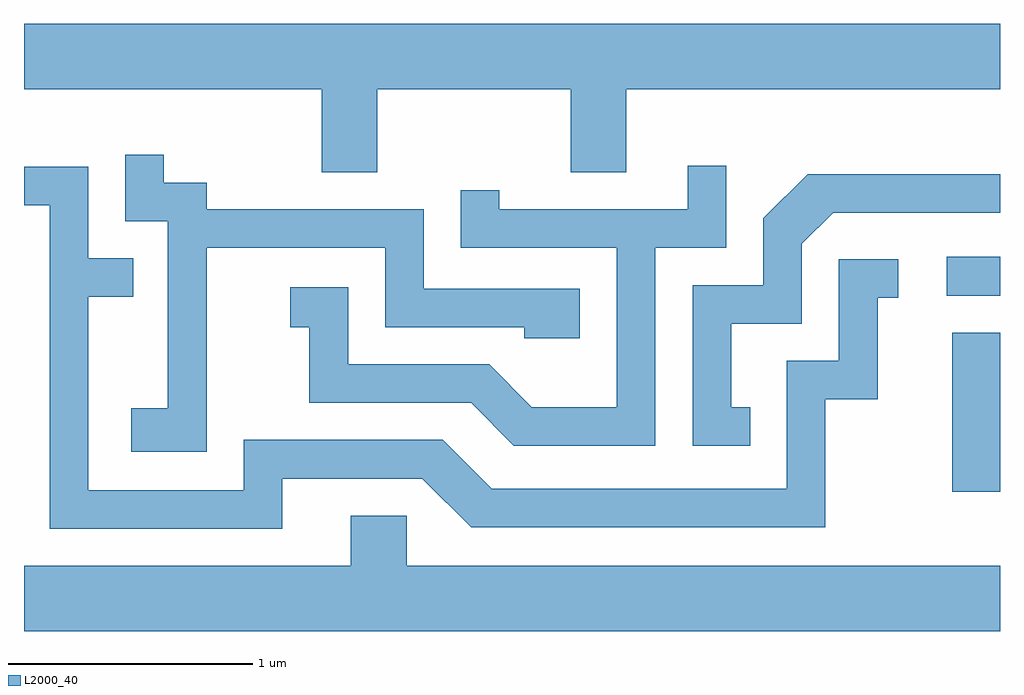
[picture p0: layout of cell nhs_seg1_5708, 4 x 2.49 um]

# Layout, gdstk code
import gdstk
lib = gdstk.Library(unit=1e-6, precision=1e-09)
def R(c, l, rs):  # rectangles x0, y0, x1, y1
    for r in rs: c.add(gdstk.rectangle(r[:2], r[2:], *l))
def P(c, l, *ps):  # polygons
    for p in ps: c.add(gdstk.Polygon(p, *l))
L2000_40 = (2000, 40)

nhs_seg1_5708 = lib.new_cell('nhs_seg1_5708')
R(nhs_seg1_5708, L2000_40, [(361.416,869.066,361.611,869.719), (361.393,869.871,361.611,870.029)])
P(nhs_seg1_5708, L2000_40, [(359.059,870.716),(359.851,870.716),(359.851,870.376),(360.079,870.376),(360.079,870.716),(361.611,870.716),(361.611,870.984),(357.611,870.984),(357.611,870.716),(358.831,870.716),(358.831,870.376),(359.059,870.376)],
  [(358.359,870.066),(359.091,870.066),(359.091,869.741),(359.661,869.741),(359.661,869.696),(359.889,869.696),(359.889,869.899),(359.249,869.899),(359.249,870.224),(358.359,870.224),(358.359,870.334),(358.184,870.334),(358.184,870.448),(358.026,870.448),(358.026,870.176),(358.201,870.176),(358.201,869.409),(358.051,869.409),(358.051,869.231),(358.359,869.231)],
  [(360.199,870.066),(360.489,870.066),(360.489,870.403),(360.331,870.403),(360.331,870.224),(359.559,870.224),(359.559,870.303),(359.401,870.303),(359.401,870.066),(360.041,870.066),(360.041,869.414),(359.692,869.414),(359.517,869.589),(358.939,869.589),(358.939,869.904),(358.703,869.904),(358.703,869.741),(358.781,869.741),(358.781,869.431),(359.444,869.431),(359.619,869.256),(360.199,869.256)],
  [(358.669,869.121),(359.244,869.121),(359.444,868.921),(360.894,868.921),(360.894,869.446),(361.109,869.446),(361.109,869.861),(361.193,869.861),(361.193,870.019),(360.951,870.019),(360.951,869.604),(360.736,869.604),(360.736,869.079),(359.527,869.079),(359.327,869.279),(358.511,869.279),(358.511,869.074),(357.874,869.074),(357.874,869.866),(358.058,869.866),(358.058,870.024),(357.874,870.024),(357.874,870.399),(357.611,870.399),(357.611,870.241),(357.716,870.241),(357.716,868.916),(358.669,868.916)],
  [(360.588,869.414),(360.509,869.414),(360.509,869.756),(360.799,869.756),(360.799,870.084),(360.927,870.211),(361.611,870.211),(361.611,870.369),(360.824,870.369),(360.641,870.187),(360.641,869.914),(360.351,869.914),(360.351,869.256),(360.588,869.256)],
  [(361.611,868.764),(359.179,868.764),(359.179,868.969),(358.951,868.969),(358.951,868.764),(357.611,868.764),(357.611,868.496),(361.611,868.496)])

lib.write_gds('nhs_seg1_5708.gds')
